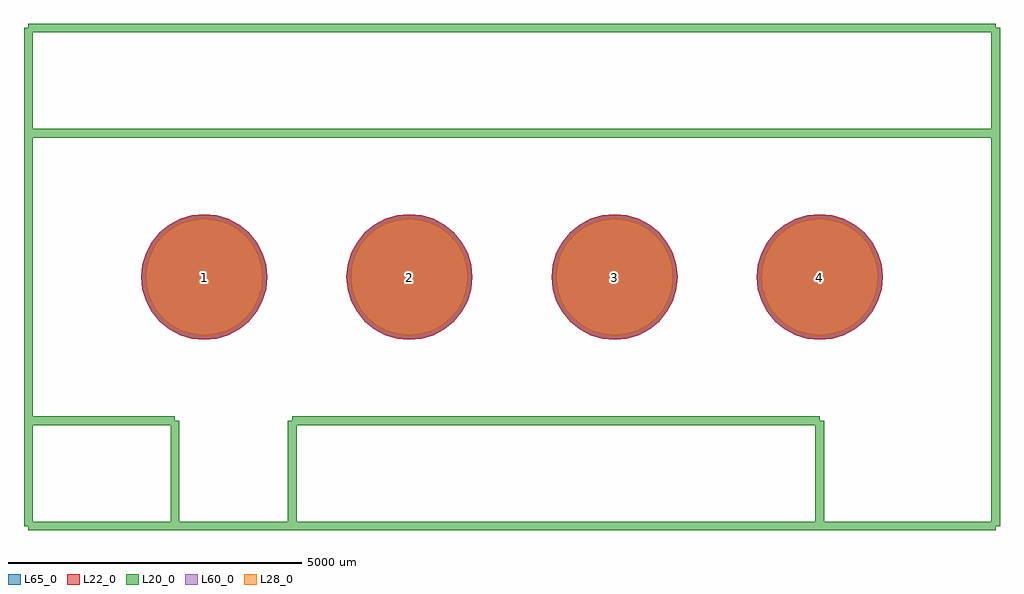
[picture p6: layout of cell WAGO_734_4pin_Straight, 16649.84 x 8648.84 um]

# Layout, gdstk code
import gdstk
lib = gdstk.Library(unit=1e-6, precision=1e-09)
def P(c, l, *ps):  # polygons
    for p in ps: c.add(gdstk.Polygon(p, *l))
L20_0 = (20, 0)
L22_0 = (22, 0)
L28_0 = (28, 0)
L60_0 = (60, 0)
L65_0 = (65, 0)

wago_734_4pin_straight = lib.new_cell('WAGO_734_4pin_Straight')
P(wago_734_4pin_straight, L22_0, [(6324.67,0),(6304.024,209.623),(6242.879,411.19),(6143.586,596.955),(6009.959,759.779),(5847.135,893.406),(5661.37,992.699),(5459.803,1053.844),(5250.18,1074.49),(5040.557,1053.844),(4838.99,992.699),(4653.225,893.406),(4490.401,759.779),(4356.774,596.955),(4257.481,411.19),(4196.336,209.623),(4175.69,0),(4196.336,-209.623),(4257.481,-411.19),(4356.774,-596.955),(4490.401,-759.779),(4653.225,-893.406),(4838.99,-992.699),(5040.557,-1053.844),(5250.18,-1074.49),(5459.803,-1053.844),(5661.37,-992.699),(5847.135,-893.406),(6009.959,-759.779),(6143.586,-596.955),(6242.879,-411.19),(6304.024,-209.623)],
  [(2824.55,0),(2803.904,209.623),(2742.759,411.19),(2643.466,596.955),(2509.839,759.779),(2347.015,893.406),(2161.25,992.699),(1959.683,1053.844),(1750.06,1074.49),(1540.437,1053.844),(1338.87,992.699),(1153.105,893.406),(990.281,759.779),(856.654,596.955),(757.361,411.19),(696.216,209.623),(675.57,0),(696.216,-209.623),(757.361,-411.19),(856.654,-596.955),(990.281,-759.779),(1153.105,-893.406),(1338.87,-992.699),(1540.437,-1053.844),(1750.06,-1074.49),(1959.683,-1053.844),(2161.25,-992.699),(2347.015,-893.406),(2509.839,-759.779),(2643.466,-596.955),(2742.759,-411.19),(2803.904,-209.623)],
  [(-4175.69,0),(-4196.336,209.623),(-4257.481,411.19),(-4356.774,596.955),(-4490.401,759.779),(-4653.225,893.406),(-4838.99,992.699),(-5040.557,1053.844),(-5250.18,1074.49),(-5459.803,1053.844),(-5661.37,992.699),(-5847.135,893.406),(-6009.959,759.779),(-6143.586,596.955),(-6242.879,411.19),(-6304.024,209.623),(-6324.67,0),(-6304.024,-209.623),(-6242.879,-411.19),(-6143.586,-596.955),(-6009.959,-759.779),(-5847.135,-893.406),(-5661.37,-992.699),(-5459.803,-1053.844),(-5250.18,-1074.49),(-5040.557,-1053.844),(-4838.99,-992.699),(-4653.225,-893.406),(-4490.401,-759.779),(-4356.774,-596.955),(-4257.481,-411.19),(-4196.336,-209.623)],
  [(-675.57,0),(-696.216,209.623),(-757.361,411.19),(-856.654,596.955),(-990.281,759.779),(-1153.105,893.406),(-1338.87,992.699),(-1540.437,1053.844),(-1750.06,1074.49),(-1959.683,1053.844),(-2161.25,992.699),(-2347.015,893.406),(-2509.839,759.779),(-2643.466,596.955),(-2742.759,411.19),(-2803.904,209.623),(-2824.55,0),(-2803.904,-209.623),(-2742.759,-411.19),(-2643.466,-596.955),(-2509.839,-759.779),(-2347.015,-893.406),(-2161.25,-992.699),(-1959.683,-1053.844),(-1750.06,-1074.49),(-1540.437,-1053.844),(-1338.87,-992.699),(-1153.105,-893.406),(-990.281,-759.779),(-856.654,-596.955),(-757.361,-411.19),(-696.216,-209.623)])
P(wago_734_4pin_straight, L28_0, [(6249.67,0),(6230.465,194.991),(6173.588,382.488),(6081.226,555.287),(5956.926,706.746),(5805.467,831.046),(5632.668,923.408),(5445.171,980.285),(5250.18,999.49),(5055.189,980.285),(4867.692,923.408),(4694.893,831.046),(4543.434,706.746),(4419.134,555.287),(4326.772,382.488),(4269.895,194.991),(4250.69,0),(4269.895,-194.991),(4326.772,-382.488),(4419.134,-555.287),(4543.434,-706.746),(4694.893,-831.046),(4867.692,-923.408),(5055.189,-980.285),(5250.18,-999.49),(5445.171,-980.285),(5632.668,-923.408),(5805.467,-831.046),(5956.926,-706.746),(6081.226,-555.287),(6173.588,-382.488),(6230.465,-194.991)],
  [(2749.55,0),(2730.345,194.991),(2673.468,382.488),(2581.106,555.287),(2456.806,706.746),(2305.347,831.046),(2132.548,923.408),(1945.051,980.285),(1750.06,999.49),(1555.069,980.285),(1367.572,923.408),(1194.773,831.046),(1043.314,706.746),(919.014,555.287),(826.652,382.488),(769.775,194.991),(750.57,0),(769.775,-194.991),(826.652,-382.488),(919.014,-555.287),(1043.314,-706.746),(1194.773,-831.046),(1367.572,-923.408),(1555.069,-980.285),(1750.06,-999.49),(1945.051,-980.285),(2132.548,-923.408),(2305.347,-831.046),(2456.806,-706.746),(2581.106,-555.287),(2673.468,-382.488),(2730.345,-194.991)],
  [(-4250.69,0),(-4269.895,194.991),(-4326.772,382.488),(-4419.134,555.287),(-4543.434,706.746),(-4694.893,831.046),(-4867.692,923.408),(-5055.189,980.285),(-5250.18,999.49),(-5445.171,980.285),(-5632.668,923.408),(-5805.467,831.046),(-5956.926,706.746),(-6081.226,555.287),(-6173.588,382.488),(-6230.465,194.991),(-6249.67,0),(-6230.465,-194.991),(-6173.588,-382.488),(-6081.226,-555.287),(-5956.926,-706.746),(-5805.467,-831.046),(-5632.668,-923.408),(-5445.171,-980.285),(-5250.18,-999.49),(-5055.189,-980.285),(-4867.692,-923.408),(-4694.893,-831.046),(-4543.434,-706.746),(-4419.134,-555.287),(-4326.772,-382.488),(-4269.895,-194.991)],
  [(-750.57,0),(-769.775,194.991),(-826.652,382.488),(-919.014,555.287),(-1043.314,706.746),(-1194.773,831.046),(-1367.572,923.408),(-1555.069,980.285),(-1750.06,999.49),(-1945.051,980.285),(-2132.548,923.408),(-2305.347,831.046),(-2456.806,706.746),(-2581.106,555.287),(-2673.468,382.488),(-2730.345,194.991),(-2749.55,0),(-2730.345,-194.991),(-2673.468,-382.488),(-2581.106,-555.287),(-2456.806,-706.746),(-2305.347,-831.046),(-2132.548,-923.408),(-1945.051,-980.285),(-1750.06,-999.49),(-1555.069,-980.285),(-1367.572,-923.408),(-1194.773,-831.046),(-1043.314,-706.746),(-919.014,-555.287),(-826.652,-382.488),(-769.775,-194.991)])
P(wago_734_4pin_straight, L60_0, [(6249.67,0),(6230.465,194.991),(6173.588,382.488),(6081.226,555.287),(5956.926,706.746),(5805.467,831.046),(5632.668,923.408),(5445.171,980.285),(5250.18,999.49),(5055.189,980.285),(4867.692,923.408),(4694.893,831.046),(4543.434,706.746),(4419.134,555.287),(4326.772,382.488),(4269.895,194.991),(4250.69,0),(4269.895,-194.991),(4326.772,-382.488),(4419.134,-555.287),(4543.434,-706.746),(4694.893,-831.046),(4867.692,-923.408),(5055.189,-980.285),(5250.18,-999.49),(5445.171,-980.285),(5632.668,-923.408),(5805.467,-831.046),(5956.926,-706.746),(6081.226,-555.287),(6173.588,-382.488),(6230.465,-194.991)],
  [(2749.55,0),(2730.345,194.991),(2673.468,382.488),(2581.106,555.287),(2456.806,706.746),(2305.347,831.046),(2132.548,923.408),(1945.051,980.285),(1750.06,999.49),(1555.069,980.285),(1367.572,923.408),(1194.773,831.046),(1043.314,706.746),(919.014,555.287),(826.652,382.488),(769.775,194.991),(750.57,0),(769.775,-194.991),(826.652,-382.488),(919.014,-555.287),(1043.314,-706.746),(1194.773,-831.046),(1367.572,-923.408),(1555.069,-980.285),(1750.06,-999.49),(1945.051,-980.285),(2132.548,-923.408),(2305.347,-831.046),(2456.806,-706.746),(2581.106,-555.287),(2673.468,-382.488),(2730.345,-194.991)],
  [(-4250.69,0),(-4269.895,194.991),(-4326.772,382.488),(-4419.134,555.287),(-4543.434,706.746),(-4694.893,831.046),(-4867.692,923.408),(-5055.189,980.285),(-5250.18,999.49),(-5445.171,980.285),(-5632.668,923.408),(-5805.467,831.046),(-5956.926,706.746),(-6081.226,555.287),(-6173.588,382.488),(-6230.465,194.991),(-6249.67,0),(-6230.465,-194.991),(-6173.588,-382.488),(-6081.226,-555.287),(-5956.926,-706.746),(-5805.467,-831.046),(-5632.668,-923.408),(-5445.171,-980.285),(-5250.18,-999.49),(-5055.189,-980.285),(-4867.692,-923.408),(-4694.893,-831.046),(-4543.434,-706.746),(-4419.134,-555.287),(-4326.772,-382.488),(-4269.895,-194.991)],
  [(-750.57,0),(-769.775,194.991),(-826.652,382.488),(-919.014,555.287),(-1043.314,706.746),(-1194.773,831.046),(-1367.572,923.408),(-1555.069,980.285),(-1750.06,999.49),(-1945.051,980.285),(-2132.548,923.408),(-2305.347,831.046),(-2456.806,706.746),(-2581.106,555.287),(-2673.468,382.488),(-2730.345,194.991),(-2749.55,0),(-2730.345,-194.991),(-2673.468,-382.488),(-2581.106,-555.287),(-2456.806,-706.746),(-2305.347,-831.046),(-2132.548,-923.408),(-1945.051,-980.285),(-1750.06,-999.49),(-1555.069,-980.285),(-1367.572,-923.408),(-1194.773,-831.046),(-1043.314,-706.746),(-919.014,-555.287),(-826.652,-382.488),(-769.775,-194.991)])
P(wago_734_4pin_straight, L65_0, [(6324.67,0),(6304.024,209.623),(6242.879,411.19),(6143.586,596.955),(6009.959,759.779),(5847.135,893.406),(5661.37,992.699),(5459.803,1053.844),(5250.18,1074.49),(5040.557,1053.844),(4838.99,992.699),(4653.225,893.406),(4490.401,759.779),(4356.774,596.955),(4257.481,411.19),(4196.336,209.623),(4175.69,0),(4196.336,-209.623),(4257.481,-411.19),(4356.774,-596.955),(4490.401,-759.779),(4653.225,-893.406),(4838.99,-992.699),(5040.557,-1053.844),(5250.18,-1074.49),(5459.803,-1053.844),(5661.37,-992.699),(5847.135,-893.406),(6009.959,-759.779),(6143.586,-596.955),(6242.879,-411.19),(6304.024,-209.623)],
  [(2824.55,0),(2803.904,209.623),(2742.759,411.19),(2643.466,596.955),(2509.839,759.779),(2347.015,893.406),(2161.25,992.699),(1959.683,1053.844),(1750.06,1074.49),(1540.437,1053.844),(1338.87,992.699),(1153.105,893.406),(990.281,759.779),(856.654,596.955),(757.361,411.19),(696.216,209.623),(675.57,0),(696.216,-209.623),(757.361,-411.19),(856.654,-596.955),(990.281,-759.779),(1153.105,-893.406),(1338.87,-992.699),(1540.437,-1053.844),(1750.06,-1074.49),(1959.683,-1053.844),(2161.25,-992.699),(2347.015,-893.406),(2509.839,-759.779),(2643.466,-596.955),(2742.759,-411.19),(2803.904,-209.623)],
  [(-4175.69,0),(-4196.336,209.623),(-4257.481,411.19),(-4356.774,596.955),(-4490.401,759.779),(-4653.225,893.406),(-4838.99,992.699),(-5040.557,1053.844),(-5250.18,1074.49),(-5459.803,1053.844),(-5661.37,992.699),(-5847.135,893.406),(-6009.959,759.779),(-6143.586,596.955),(-6242.879,411.19),(-6304.024,209.623),(-6324.67,0),(-6304.024,-209.623),(-6242.879,-411.19),(-6143.586,-596.955),(-6009.959,-759.779),(-5847.135,-893.406),(-5661.37,-992.699),(-5459.803,-1053.844),(-5250.18,-1074.49),(-5040.557,-1053.844),(-4838.99,-992.699),(-4653.225,-893.406),(-4490.401,-759.779),(-4356.774,-596.955),(-4257.481,-411.19),(-4196.336,-209.623)],
  [(-675.57,0),(-696.216,209.623),(-757.361,411.19),(-856.654,596.955),(-990.281,759.779),(-1153.105,893.406),(-1338.87,992.699),(-1540.437,1053.844),(-1750.06,1074.49),(-1959.683,1053.844),(-2161.25,992.699),(-2347.015,893.406),(-2509.839,759.779),(-2643.466,596.955),(-2742.759,411.19),(-2803.904,209.623),(-2824.55,0),(-2803.904,-209.623),(-2742.759,-411.19),(-2643.466,-596.955),(-2509.839,-759.779),(-2347.015,-893.406),(-2161.25,-992.699),(-1959.683,-1053.844),(-1750.06,-1074.49),(-1540.437,-1053.844),(-1338.87,-992.699),(-1153.105,-893.406),(-990.281,-759.779),(-856.654,-596.955),(-757.361,-411.19),(-696.216,-209.623)])
wago_734_4pin_straight.add(gdstk.FlexPath([(8249.92,-4249.42),(0,-4249.42)], 149.998, ends="flush", simple_path=True, layer=20, datatype=0))  # L20_0
wago_734_4pin_straight.add(gdstk.FlexPath([(8249.92,4249.42),(8249.92,-4249.42)], 149.998, ends="flush", simple_path=True, layer=20, datatype=0))  # L20_0
wago_734_4pin_straight.add(gdstk.FlexPath([(-8249.92,4249.42),(8249.92,4249.42)], 149.998, ends="flush", simple_path=True, layer=20, datatype=0))  # L20_0
wago_734_4pin_straight.add(gdstk.FlexPath([(-8249.92,-4249.42),(-8249.92,4249.42)], 149.998, ends="flush", simple_path=True, layer=20, datatype=0))  # L20_0
wago_734_4pin_straight.add(gdstk.FlexPath([(0,-4249.42),(-8249.92,-4249.42)], 149.998, ends="flush", simple_path=True, layer=20, datatype=0))  # L20_0
wago_734_4pin_straight.add(gdstk.FlexPath([(-5750.56,-2451.1),(-5750.56,-4201.16)], 149.998, ends="flush", simple_path=True, layer=20, datatype=0))  # L20_0
wago_734_4pin_straight.add(gdstk.FlexPath([(-8249.92,-2451.1),(-5750.56,-2451.1)], 149.998, ends="flush", simple_path=True, layer=20, datatype=0))  # L20_0
wago_734_4pin_straight.add(gdstk.FlexPath([(-3749.04,-4249.42),(-3749.04,-2451.1)], 149.998, ends="flush", simple_path=True, layer=20, datatype=0))  # L20_0
wago_734_4pin_straight.add(gdstk.FlexPath([(5250.18,-2451.1),(-3749.04,-2451.1)], 149.998, ends="flush", simple_path=True, layer=20, datatype=0))  # L20_0
wago_734_4pin_straight.add(gdstk.FlexPath([(5250.18,-4249.42),(5250.18,-2451.1)], 149.998, ends="flush", simple_path=True, layer=20, datatype=0))  # L20_0
wago_734_4pin_straight.add(gdstk.FlexPath([(-8249.92,2451.1),(8249.92,2451.1)], 149.998, ends="flush", simple_path=True, layer=20, datatype=0))  # L20_0
wago_734_4pin_straight.add(gdstk.Label('4', (5250.18,0), layer=28, texttype=0))
wago_734_4pin_straight.add(gdstk.Label('3', (1750.06,0), layer=28, texttype=0))
wago_734_4pin_straight.add(gdstk.Label('1', (-5250.18,0), layer=28, texttype=0))
wago_734_4pin_straight.add(gdstk.Label('2', (-1750.06,0), layer=28, texttype=0))
wago_734_4pin_straight.add(gdstk.Label('type', (0,-6350), layer=9, texttype=0))
wago_734_4pin_straight.add(gdstk.Label('devicename', (0,6350), layer=9, texttype=0))

lib.write_gds('WAGO_734_4pin_Straight.gds')
